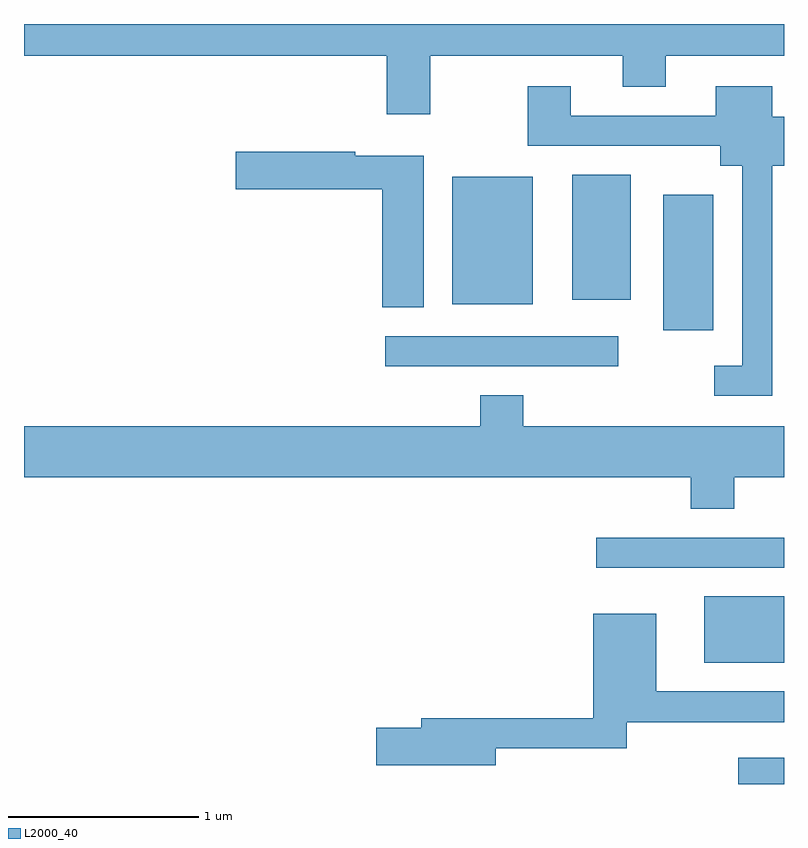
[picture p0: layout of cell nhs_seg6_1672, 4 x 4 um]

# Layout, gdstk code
import gdstk
lib = gdstk.Library(unit=1e-6, precision=1e-09)
def R(c, l, rs):  # rectangles x0, y0, x1, y1
    for r in rs: c.add(gdstk.rectangle(r[:2], r[2:], *l))
def P(c, l, *ps):  # polygons
    for p in ps: c.add(gdstk.Polygon(p, *l))
L2000_40 = (2000, 40)

nhs_seg6_1672 = lib.new_cell('nhs_seg6_1672')
R(nhs_seg6_1672, L2000_40, [(239.371,1586.162,239.611,1586.299), (239.191,1586.801,239.611,1587.149), (238.623,1587.301,239.611,1587.459), (237.513,1588.361,238.738,1588.519), (238.976,1588.551,239.239,1589.264), (237.866,1588.686,238.289,1589.359), (238.496,1588.711,238.804,1589.369)])
P(nhs_seg6_1672, L2000_40, [(237.749,1589.996),(238.761,1589.996),(238.761,1589.831),(238.989,1589.831),(238.989,1589.996),(239.611,1589.996),(239.611,1590.162),(235.611,1590.162),(235.611,1589.996),(237.521,1589.996),(237.521,1589.686),(237.749,1589.686)],
  [(239.549,1589.416),(239.611,1589.416),(239.611,1589.674),(239.549,1589.674),(239.549,1589.834),(239.251,1589.834),(239.251,1589.679),(238.489,1589.679),(238.489,1589.834),(238.261,1589.834),(238.261,1589.521),(239.276,1589.521),(239.276,1589.416),(239.391,1589.416),(239.391,1588.364),(239.243,1588.364),(239.243,1588.206),(239.549,1588.206)],
  [(237.714,1589.469),(237.354,1589.469),(237.354,1589.489),(236.726,1589.489),(236.726,1589.291),(237.496,1589.291),(237.496,1588.671),(237.714,1588.671)],
  [(239.349,1587.776),(239.611,1587.776),(239.611,1588.044),(238.239,1588.044),(238.239,1588.209),(238.011,1588.209),(238.011,1588.044),(235.611,1588.044),(235.611,1587.776),(239.121,1587.776),(239.121,1587.611),(239.349,1587.611)],
  [(238.094,1586.351),(238.784,1586.351),(238.784,1586.486),(239.611,1586.486),(239.611,1586.649),(238.939,1586.649),(238.939,1587.059),(238.606,1587.059),(238.606,1586.509),(237.701,1586.509),(237.701,1586.459),(237.466,1586.459),(237.466,1586.261),(238.094,1586.261)])

lib.write_gds('nhs_seg6_1672.gds')
